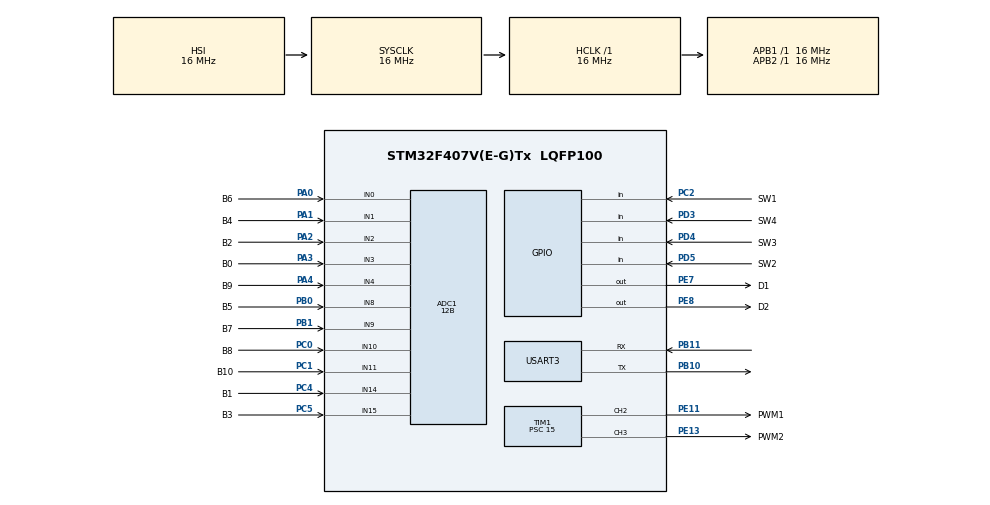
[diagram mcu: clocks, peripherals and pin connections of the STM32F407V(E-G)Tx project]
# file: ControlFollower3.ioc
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ADC1.Channel-0\#ChannelRegularConversion=ADC_CHANNEL_3
ADC1.Channel-1\#ChannelRegularConversion=ADC_CHANNEL_14
ADC1.Channel-10\#ChannelRegularConversion=ADC_CHANNEL_11
ADC1.Channel-2\#ChannelRegularConversion=ADC_CHANNEL_2
ADC1.Channel-3\#ChannelRegularConversion=ADC_CHANNEL_15
ADC1.Channel-4\#ChannelRegularConversion=ADC_CHANNEL_1
ADC1.Channel-5\#ChannelRegularConversion=ADC_CHANNEL_8
ADC1.Channel-6\#ChannelRegularConversion=ADC_CHANNEL_0
ADC1.Channel-7\#ChannelRegularConversion=ADC_CHANNEL_9
ADC1.Channel-8\#ChannelRegularConversion=ADC_CHANNEL_10
ADC1.Channel-9\#ChannelRegularConversion=ADC_CHANNEL_4
ADC1.ClockPrescaler=ADC_CLOCK_SYNC_PCLK_DIV2
ADC1.ContinuousConvMode=ENABLE
ADC1.DMAContinuousRequests=ENABLE
ADC1.DataAlign=ADC_DATAALIGN_RIGHT
ADC1.DiscontinuousConvMode=DISABLE
ADC1.EOCSelection=ADC_EOC_SINGLE_CONV
ADC1.EnableAnalogWatchDog=false
ADC1.ExternalTrigConv=ADC_SOFTWARE_START
ADC1.ExternalTrigConvEdge=ADC_EXTERNALTRIGCONVEDGE_NONE
ADC1.InjNumberOfConversion=0
ADC1.NbrOfConversion=11
ADC1.NbrOfConversionFlag=1
ADC1.Rank-0\#ChannelRegularConversion=1
ADC1.Rank-1\#ChannelRegularConversion=2
ADC1.Rank-10\#ChannelRegularConversion=11
ADC1.Rank-2\#ChannelRegularConversion=3
ADC1.Rank-3\#ChannelRegularConversion=4
ADC1.Rank-4\#ChannelRegularConversion=5
ADC1.Rank-5\#ChannelRegularConversion=6
ADC1.Rank-6\#ChannelRegularConversion=7
ADC1.Rank-7\#ChannelRegularConversion=8
ADC1.Rank-8\#ChannelRegularConversion=9
ADC1.Rank-9\#ChannelRegularConversion=10
ADC1.Resolution=ADC_RESOLUTION_12B
ADC1.SamplingTime-0\#ChannelRegularConversion=ADC_SAMPLETIME_15CYCLES
ADC1.SamplingTime-1\#ChannelRegularConversion=ADC_SAMPLETIME_15CYCLES
ADC1.SamplingTime-10\#ChannelRegularConversion=ADC_SAMPLETIME_15CYCLES
ADC1.SamplingTime-2\#ChannelRegularConversion=ADC_SAMPLETIME_15CYCLES
ADC1.SamplingTime-3\#ChannelRegularConversion=ADC_SAMPLETIME_15CYCLES
ADC1.SamplingTime-4\#ChannelRegularConversion=ADC_SAMPLETIME_15CYCLES
ADC1.SamplingTime-5\#ChannelRegularConversion=ADC_SAMPLETIME_15CYCLES
ADC1.SamplingTime-6\#ChannelRegularConversion=ADC_SAMPLETIME_15CYCLES
ADC1.SamplingTime-7\#ChannelRegularConversion=ADC_SAMPLETIME_15CYCLES
ADC1.SamplingTime-8\#ChannelRegularConversion=ADC_SAMPLETIME_15CYCLES
ADC1.SamplingTime-9\#ChannelRegularConversion=ADC_SAMPLETIME_15CYCLES
ADC1.ScanConvMode=ENABLE
ADC1.master=1
Dma.ADC1.0.Direction=DMA_PERIPH_TO_MEMORY
Dma.ADC1.0.FIFOMode=DMA_FIFOMODE_DISABLE
Dma.ADC1.0.Instance=DMA2_Stream0
Dma.ADC1.0.MemDataAlignment=DMA_MDATAALIGN_HALFWORD
Dma.ADC1.0.MemInc=DMA_MINC_ENABLE
Dma.ADC1.0.Mode=DMA_CIRCULAR
Dma.ADC1.0.PeriphDataAlignment=DMA_PDATAALIGN_HALFWORD
Dma.ADC1.0.PeriphInc=DMA_PINC_DISABLE
Dma.ADC1.0.Priority=DMA_PRIORITY_LOW
Dma.Request0=ADC1
Mcu.Family=STM32F4
Mcu.Name=STM32F407V(E-G)Tx
Mcu.Package=LQFP100
NVIC.DMA2_Stream0_IRQn=true\:0\:0\:false\:false\:true\:false
NVIC.PriorityGroup=NVIC_PRIORITYGROUP_4
NVIC.TIM2_IRQn=true\:0\:0\:false\:false\:true\:true
PA0-WKUP.GPIO_Label=B6
PA0-WKUP.Signal=ADCx_IN0
PA1.GPIO_Label=B4
PA1.Signal=ADCx_IN1
PA2.GPIO_Label=B2
PA2.Signal=ADCx_IN2
PA3.GPIO_Label=B0
PA3.Signal=ADCx_IN3
PA4.GPIO_Label=B9
PA4.Signal=ADCx_IN4
PB0.GPIO_Label=B5
PB0.Signal=ADCx_IN8
PB1.GPIO_Label=B7
PB1.Signal=ADCx_IN9
PB10.Mode=Asynchronous
PB10.Signal=USART3_TX
PB11.Mode=Asynchronous
PB11.Signal=USART3_RX
PC0.GPIO_Label=B8
PC0.Signal=ADCx_IN10
PC1.GPIO_Label=B10
PC1.Signal=ADCx_IN11
PC2.GPIO_Label=SW1
PC2.GPIO_PuPd=GPIO_PULLUP
PC2.Signal=GPIO_Input
PC4.GPIO_Label=B1
PC4.Signal=ADCx_IN14
PC5.GPIO_Label=B3
PC5.Signal=ADCx_IN15
PD3.GPIO_Label=SW4
PD3.GPIO_PuPd=GPIO_PULLUP
PD3.Signal=GPIO_Input
PD4.GPIO_Label=SW3
PD4.GPIO_PuPd=GPIO_PULLUP
PD4.Signal=GPIO_Input
PD5.GPIO_Label=SW2
PD5.GPIO_PuPd=GPIO_PULLUP
PD5.Signal=GPIO_Input
PE11.GPIO_Label=PWM1
PE11.Signal=S_TIM1_CH2
PE13.GPIO_Label=PWM2
PE13.Signal=S_TIM1_CH3
PE7.GPIO_Label=D1
PE7.GPIO_Speed=GPIO_SPEED_FREQ_HIGH
PE7.Signal=GPIO_Output
PE8.GPIO_Label=D2
PE8.GPIO_Speed=GPIO_SPEED_FREQ_HIGH
PE8.Signal=GPIO_Output
ProjectManager.HeapSize=0x200
ProjectManager.StackSize=0x400
ProjectManager.TargetToolchain=TrueSTUDIO
RCC.AHBFreq_Value=16000000
RCC.APB1Freq_Value=16000000
RCC.APB2Freq_Value=16000000
RCC.CortexFreq_Value=16000000
RCC.HSE_VALUE=25000000
RCC.HSI_VALUE=16000000
RCC.LSE_VALUE=32768
RCC.SYSCLKFreq_VALUE=16000000
RCC.VCOOutputFreq_Value=192000000
SH.ADCx_IN0.0=ADC1_IN0,IN0
SH.ADCx_IN1.0=ADC1_IN1,IN1
SH.ADCx_IN10.0=ADC1_IN10,IN10
SH.ADCx_IN11.0=ADC1_IN11,IN11
SH.ADCx_IN14.0=ADC1_IN14,IN14
SH.ADCx_IN15.0=ADC1_IN15,IN15
SH.ADCx_IN2.0=ADC1_IN2,IN2
SH.ADCx_IN3.0=ADC1_IN3,IN3
SH.ADCx_IN4.0=ADC1_IN4,IN4
SH.ADCx_IN8.0=ADC1_IN8,IN8
SH.ADCx_IN9.0=ADC1_IN9,IN9
SH.S_TIM1_CH2.0=TIM1_CH2,PWM Generation2 CH2
SH.S_TIM1_CH3.0=TIM1_CH3,PWM Generation3 CH3
TIM1.Channel-PWM\ Generation2\ CH2=TIM_CHANNEL_2
TIM1.Channel-PWM\ Generation3\ CH3=TIM_CHANNEL_3
TIM1.Period=1000
TIM1.Prescaler=15
TIM2.Period=499
TIM2.Prescaler=15
USART3.VirtualMode=VM_ASYNC
VP_TIM1_VS_ClockSourceINT.Mode=Internal
VP_TIM2_VS_ClockSourceINT.Mode=Internal
board=ControlFollower3

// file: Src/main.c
/**
  ******************************************************************************
  * File Name          : main.c
  * Description        : Main program body
  ******************************************************************************
  ** This notice applies to any and all portions of this file
  * that are not between comment pairs USER CODE BEGIN and
  * USER CODE END. Other portions of this file, whether
  * inserted by the user or by software development tools
  * are owned by their respective copyright owners.
  *
  * COPYRIGHT(c) 2019 STMicroelectronics
  *
  * Redistribution and use in source and binary forms, with or without modification,
  * are permitted provided that the following conditions are met:
  *   1. Redistributions of source code must retain the above copyright notice,
  *      this list of conditions and the following disclaimer.
  *   2. Redistributions in binary form must reproduce the above copyright notice,
  *      this list of conditions and the following disclaimer in the documentation
  *      and/or other materials provided with the distribution.
  *   3. Neither the name of STMicroelectronics nor the names of its contributors
  *      may be used to endorse or promote products derived from this software
  *      without specific prior written permission.
  *
  * THIS SOFTWARE IS PROVIDED BY THE COPYRIGHT HOLDERS AND CONTRIBUTORS "AS IS"
  * AND ANY EXPRESS OR IMPLIED WARRANTIES, INCLUDING, BUT NOT LIMITED TO, THE
  * IMPLIED WARRANTIES OF MERCHANTABILITY AND FITNESS FOR A PARTICULAR PURPOSE ARE
  * DISCLAIMED. IN NO EVENT SHALL THE COPYRIGHT HOLDER OR CONTRIBUTORS BE LIABLE
  * FOR ANY DIRECT, INDIRECT, INCIDENTAL, SPECIAL, EXEMPLARY, OR CONSEQUENTIAL
  * DAMAGES (INCLUDING, BUT NOT LIMITED TO, PROCUREMENT OF SUBSTITUTE GOODS OR
  * SERVICES; LOSS OF USE, DATA, OR PROFITS; OR BUSINESS INTERRUPTION) HOWEVER
  * CAUSED AND ON ANY THEORY OF LIABILITY, WHETHER IN CONTRACT, STRICT LIABILITY,
  * OR TORT (INCLUDING NEGLIGENCE OR OTHERWISE) ARISING IN ANY WAY OUT OF THE USE
  * OF THIS SOFTWARE, EVEN IF ADVISED OF THE POSSIBILITY OF SUCH DAMAGE.
  *
  ******************************************************************************
  */

#include "main.h"
#include "stm32f4xx_hal.h"
#include "adc.h"
#include "dma.h"
#include "tim.h"
#include "usart.h"
#include "gpio.h"

/* USER CODE BEGIN Includes */
#include<stdio.h>
#include<string.h>
/* USER CODE END Includes */

/* USER CODE BEGIN PV */
/* Private variables ---------------------------------------------------------*/
int flag=0;
int  MAX_SPEED=0;//596-686
int  MED_SPEED=0;//314---400
float Kp=0;//106-135
float Ki=0;//
float Kd=0;//216-275
float x[3]={0,0,0};
signed int u=0;
enum {STOP,STARTING,RUN} state=STOP;
enum {CENTER,RIGHT,LEFT}out_state=CENTER;
uint16_t lectura_adc[11];
int b[11];
int error=0;
int line=0;
signed int speed_1=0;
signed int speed_2=0;
/* USER CODE END PV */

void SystemClock_Config(void);

/* USER CODE BEGIN PFP */
/* Private function prototypes -----------------------------------------------*/

void Motor_R (signed int speed);
void Motor_L (signed int speed);
void ControllerPID();
void StateMachine();
void ReadSensors();
/* USER CODE END PFP */

int main(void)
{

  /* MCU Configuration----------------------------------------------------------*/

  /* Reset of all peripherals, Initializes the Flash interface and the Systick. */
  HAL_Init();

  /* Configure the system clock */
  SystemClock_Config();

  /* Initialize all configured peripherals */
  MX_GPIO_Init();
  MX_DMA_Init();
  MX_ADC1_Init();
  MX_TIM1_Init();
  MX_TIM2_Init();
  MX_USART3_UART_Init();

  /* USER CODE BEGIN 2 */
  HAL_ADC_Start_DMA(&hadc1,(uint32_t*)lectura_adc,11);
  HAL_TIM_PWM_Start(&htim1,TIM_CHANNEL_2);
  HAL_TIM_PWM_Start(&htim1,TIM_CHANNEL_3);
  /* USER CODE END 2 */

  /* Infinite loop */
  while (1)
  {

  /* USER CODE BEGIN 3 */

	  char buffer[80];

	   	 b[0]=(lectura_adc[0]);
	   	 b[1]=(lectura_adc[1]);
	   	 b[2]=(lectura_adc[2]);
	   	 b[3]=(lectura_adc[3]);
	   	 b[4]=(lectura_adc[4]);
	   	 b[5]=(lectura_adc[5]);
	   	 b[6]=(lectura_adc[6]);
	   	 b[7]=(lectura_adc[7]);
	   	 b[8]=(lectura_adc[8]);
	   	 b[9]=(lectura_adc[4]);
	   	 b[10]=(lectura_adc[10]);
	       sprintf(buffer,"%d %d  %d %d %d %d %d %d %d %d %d \n\n\n\r",b[10],b[8],b[6],b[4],b[2],b[0],b[1],b[3],b[5],b[7],b[9]);
	       HAL_UART_Transmit(&huart3,(uint8_t*)buffer,(uint16_t)strlen(buffer),(uint32_t)100);
	//StateMachine();
  }
  /* USER CODE END 3 */

}

/** System Clock Configuration
*/
void SystemClock_Config(void)
{

  RCC_OscInitTypeDef RCC_OscInitStruct;
  RCC_ClkInitTypeDef RCC_ClkInitStruct;

    /**Configure the main internal regulator output voltage
    */
  __HAL_RCC_PWR_CLK_ENABLE();

  __HAL_PWR_VOLTAGESCALING_CONFIG(PWR_REGULATOR_VOLTAGE_SCALE1);

    /**Initializes the CPU, AHB and APB busses clocks
    */
  RCC_OscInitStruct.OscillatorType = RCC_OSCILLATORTYPE_HSI;
  RCC_OscInitStruct.HSIState = RCC_HSI_ON;
  RCC_OscInitStruct.HSICalibrationValue = 16;
  RCC_OscInitStruct.PLL.PLLState = RCC_PLL_NONE;
  if (HAL_RCC_OscConfig(&RCC_OscInitStruct) != HAL_OK)
  {
    _Error_Handler(__FILE__, __LINE__);
  }

    /**Initializes the CPU, AHB and APB busses clocks
    */
  RCC_ClkInitStruct.ClockType = RCC_CLOCKTYPE_HCLK|RCC_CLOCKTYPE_SYSCLK
                              |RCC_CLOCKTYPE_PCLK1|RCC_CLOCKTYPE_PCLK2;
  RCC_ClkInitStruct.SYSCLKSource = RCC_SYSCLKSOURCE_HSI;
  RCC_ClkInitStruct.AHBCLKDivider = RCC_SYSCLK_DIV1;
  RCC_ClkInitStruct.APB1CLKDivider = RCC_HCLK_DIV1;
  RCC_ClkInitStruct.APB2CLKDivider = RCC_HCLK_DIV1;

  if (HAL_RCC_ClockConfig(&RCC_ClkInitStruct, FLASH_LATENCY_0) != HAL_OK)
  {
    _Error_Handler(__FILE__, __LINE__);
  }

    /**Configure the Systick interrupt time
    */
  HAL_SYSTICK_Config(HAL_RCC_GetHCLKFreq()/1000);

    /**Configure the Systick
    */
  HAL_SYSTICK_CLKSourceConfig(SYSTICK_CLKSOURCE_HCLK);

  /* SysTick_IRQn interrupt configuration */
  HAL_NVIC_SetPriority(SysTick_IRQn, 0, 0);
}

/* USER CODE BEGIN 4 */
void Motor_R (signed int speed)
{
   if(!speed) {
	   __HAL_TIM_SET_COMPARE(&htim1,TIM_CHANNEL_3,0);
   }
   else {
      speed = (speed >= MAX_SPEED) ? MAX_SPEED : speed;
      if (speed >=1){
      __HAL_TIM_SET_COMPARE(&htim1,TIM_CHANNEL_3,speed);
      HAL_GPIO_WritePin(GPIOE,D2_Pin,GPIO_PIN_RESET);
      }
      else {
      speed *= (0-1);
      speed = (speed >= MAX_SPEED) ? MAX_SPEED : speed;
      __HAL_TIM_SET_COMPARE(&htim1,TIM_CHANNEL_3,speed);
      HAL_GPIO_WritePin(GPIOE,D2_Pin,GPIO_PIN_SET);
      }
   }
   return;
}

///Function to set speed of left motor///
void Motor_L (signed int speed)
{
   if(!speed) {
	   __HAL_TIM_SET_COMPARE(&htim1,TIM_CHANNEL_2,0);
   }
   else {
      speed = (speed >= MAX_SPEED) ? MAX_SPEED : speed;
      if (speed >=1){
      __HAL_TIM_SET_COMPARE(&htim1,TIM_CHANNEL_2,speed);
      HAL_GPIO_WritePin(GPIOE,D1_Pin,GPIO_PIN_SET);
      }
      else {
      speed *= (0-1);
      speed = (speed >= MAX_SPEED) ? MAX_SPEED : speed;
      __HAL_TIM_SET_COMPARE(&htim1,TIM_CHANNEL_2,speed);
      HAL_GPIO_WritePin(GPIOE,D1_Pin,GPIO_PIN_RESET);
      }
   }
   return;
}
void ControllerPID(){
    if(line) {
     //PID Control
    x[0]=error;
    x[2]=x[0]+x[2];
    u=Kp*x[0]+Ki*(x[2])+Kd*(x[0]-x[1]);
    speed_1=MED_SPEED-u;
    speed_2=MED_SPEED+u;
    Motor_R(speed_2);
    Motor_L(speed_1);
    x[1]=x[0];
  }
   else{
      switch (out_state){
      case CENTER:
           speed_1 = MED_SPEED;
           speed_2 = MED_SPEED;
           break;
      case LEFT:
           speed_1 = MAX_SPEED;
           speed_2 = (0-MAX_SPEED);
           break;
      case RIGHT:
           speed_1 = (0-MAX_SPEED);
           speed_2 = MAX_SPEED;
           break;
     }
    }
  }
void StateMachine(){
   switch(state){
    case STOP:
           __HAL_TIM_SET_COMPARE(&htim1,TIM_CHANNEL_2,0);
           __HAL_TIM_SET_COMPARE(&htim1,TIM_CHANNEL_3,0);
           if((flag==0)&& !(HAL_GPIO_ReadPin(GPIOD,SW2_Pin))){
        	   /*
        	   MAX_SPEED=650;//
        	   MED_SPEED=565;//
        	   Kp=145;//
        	   Ki=0;//
        	   Kd=327;//
*/
          	   MAX_SPEED=455;//
          	   MED_SPEED=0;//
          	   Kp=102;//
          	   Ki=0;//
          	   Kd=229;//
          	   state=STARTING;
               flag++;
           }
           else if((flag==0)&& !(HAL_GPIO_ReadPin(GPIOC,SW1_Pin))){
        	   MAX_SPEED=650;//
        	   MED_SPEED=0;//
        	   Kp=145;//
        	   Ki=0;//
        	   Kd=327;//
               state=STARTING;
               flag++;
             }
            break;
    case STARTING:
            state=RUN;
            break;
    case RUN:
    	    ReadSensors();
    	    ControllerPID();
            break;
     }
  }
void ReadSensors(){

	 b[0]=(lectura_adc[0]>4000) ? 1 : 0;
	 b[1]=(lectura_adc[1]>4000) ? 1 : 0;
	 b[2]=(lectura_adc[2]>4000) ? 1 : 0;
	 b[3]=(lectura_adc[3]>4000) ? 1 : 0;
	 b[4]=(lectura_adc[4]>4000) ? 1 : 0;
	 b[5]=(lectura_adc[5]>4000) ? 1 : 0;
	 b[6]=(lectura_adc[6]>4000) ? 1 : 0;
	 b[7]=(lectura_adc[7]>4000) ? 1 : 0;
	 b[8]=(lectura_adc[8]>4000) ? 1 : 0;
	 b[9]=(lectura_adc[9]>4000) ? 1 : 0;
	 b[10]=(lectura_adc[10]>4000)? 1 : 0;

/*
	 b[0]=(lectura_adc[0]);
	 b[1]=(lectura_adc[1]);
	 b[2]=(lectura_adc[2]);
	 b[3]=(lectura_adc[3]);
	 b[4]=(lectura_adc[4]);
	 b[5]=(lectura_adc[5]);
	 b[6]=(lectura_adc[6]);
	 b[7]=(lectura_adc[7]);
	 b[8]=(lectura_adc[8]);
	 b[9]=(lectura_adc[4]);
	 b[10]=(lectura_adc[10]);
 */
    if (b[0]||b[1]||b[2]||b[3]||b[4]||b[5]||b[6]||b[7]||b[8]||b[9]||b[10]) {
        error = (b[1])         ? (0-2) : error;
        error = (b[3])         ? (0-4) : error;
        error = (b[5])         ? (0-6) : error;
        error = (b[7])         ? (0-8) : error;
        error = (b[9])         ? (0-10) : error;
        error = (b[1] && b[3])   ? (0-3) : error;
        error = (b[3] && b[5])   ? (0-5) : error;
        error = (b[5] && b[7])   ? (0-7) : error;
        error = (b[7] && b[9])   ? (0-9) : error;
        /*Positive right sensor*/
        error = (b[2])         ? 2 : error;
        error = (b[4])         ? 4 : error;
        error = (b[6])         ? 6 : error;
        error = (b[8])         ? 8 : error;
        error = (b[10])        ? 10 : error;
        error = (b[2] && b[4])   ? 3 : error;
        error = (b[4] && b[6])   ? 5 : error;
        error = (b[6] && b[8])   ? 7 : error;
        error = (b[8] && b[10])  ? 9 : error;
        /*Neutral middle sensor*/
        error = (b[0])         ? 0 : error;
        error = (b[0] && b[1])   ? (0-1) : error;
        error = (b[0] && b[2])   ? 1 : error;
        out_state = ((error <= 4)&&(error >=(0-4)))  ? CENTER : out_state;
        out_state = ((error >= 5)&&(error <=10))        ? LEFT : out_state;
        out_state = ((error <=(0-5))&&(error >=(0-10))) ? RIGHT: out_state;
        line=1;
    }
    else{
        line=0;
      }
}
/* USER CODE END 4 */

void _Error_Handler(char * file, int line)
{
  while(1)
  {
  }
}

/************************ (C) COPYRIGHT STMicroelectronics *****END OF FILE****/
